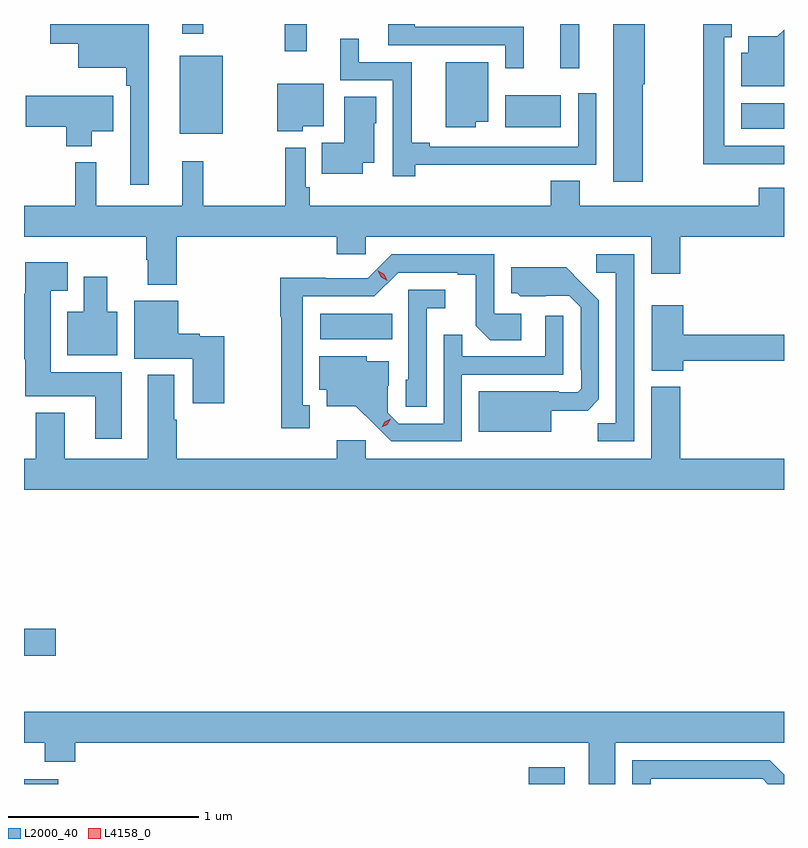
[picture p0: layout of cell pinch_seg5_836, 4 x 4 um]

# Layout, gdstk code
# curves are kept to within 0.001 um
import gdstk
lib = gdstk.Library(unit=1e-6, precision=1e-09)
def R(c, l, rs):  # rectangles x0, y0, x1, y1
    for r in rs: c.add(gdstk.rectangle(r[:2], r[2:], *l))
def P(c, l, *ps):  # polygons
    for p in ps: c.add(gdstk.Polygon(p, *l))
L2000_40 = (2000, 40)
L4158_0 = (4158, 0)

pinch_seg5_836 = lib.new_cell('pinch_seg5_836')
R(pinch_seg5_836, L2000_40, [(800.708,891.176,800.887,891.202), (803.365,891.176,803.554,891.265), (800.708,891.85,800.875,891.992), (802.266,893.516,802.646,893.65), (801.527,894.599,801.754,895.009), (804.482,894.626,804.708,894.76), (803.24,894.632,803.533,894.802), (803.531,894.942,803.63,895.176), (802.081,895.032,802.195,895.176), (801.542,895.125,801.652,895.176)])
P(pinch_seg5_836, L2000_40, [(803.339,895.161),(802.765,895.161),(802.765,895.176),(802.625,895.176),(802.625,895.065),(803.241,895.065),(803.241,894.942),(803.339,894.942)],
  [(803.964,894.858),(803.974,894.858),(803.974,895.176),(803.81,895.176),(803.81,894.345),(803.964,894.345)],
  [(801.364,895.176),(800.847,895.176),(800.847,895.073),(800.993,895.073),(800.993,894.947),(801.247,894.947),(801.247,894.851),(801.267,894.851),(801.267,894.33),(801.364,894.33)],
  [(804.516,894.438),(804.708,894.438),(804.708,894.534),(804.394,894.534),(804.394,895.107),(804.433,895.107),(804.433,895.176),(804.283,895.176),(804.283,894.437),(804.516,894.437)],
  [(804.708,895.146),(804.673,895.111),(804.521,895.111),(804.521,895.024),(804.482,895.024),(804.482,894.848),(804.708,894.848)],
  [(802.766,894.434),(803.396,894.434),(803.396,894.435),(803.721,894.435),(803.721,894.811),(803.625,894.811),(803.625,894.531),(802.843,894.531),(802.843,894.551),(802.748,894.551),(802.748,894.975),(802.471,894.975),(802.471,895.099),(802.373,895.099),(802.373,894.879),(802.65,894.879),(802.65,894.375),(802.766,894.375)],
  [(803.086,894.662),(803.152,894.662),(803.152,894.976),(802.928,894.976),(802.928,894.632),(803.086,894.632)],
  [(802.176,894.638),(802.285,894.638),(802.285,894.862),(802.04,894.862),(802.04,894.611),(802.176,894.611)],
  [(801.064,894.611),(801.178,894.611),(801.178,894.799),(800.718,894.799),(800.718,894.634),(800.93,894.634),(800.93,894.533),(801.064,894.533)],
  [(802.492,894.446),(802.552,894.446),(802.552,894.654),(802.561,894.654),(802.561,894.794),(802.394,894.794),(802.394,894.55),(802.276,894.55),(802.276,894.389),(802.492,894.389)],
  [(801.512,894.056),(802.355,894.056),(802.355,893.963),(802.506,893.963),(802.506,894.056),(804.008,894.056),(804.008,893.862),(804.161,893.862),(804.161,894.056),(804.708,894.056),(804.708,894.313),(804.575,894.313),(804.575,894.22),(803.632,894.22),(803.632,894.35),(803.48,894.35),(803.48,894.22),(802.211,894.22),(802.211,894.316),(802.191,894.316),(802.191,894.526),(802.083,894.526),(802.083,894.22),(801.652,894.22),(801.652,894.454),(801.542,894.454),(801.542,894.22),(801.089,894.22),(801.089,894.448),(800.979,894.448),(800.979,894.22),(800.708,894.22),(800.708,894.056),(801.352,894.056),(801.352,893.936),(801.359,893.936),(801.359,893.804),(801.512,893.804)],
  [(802.213,893.169),(802.174,893.169),(802.174,893.742),(802.551,893.742),(802.677,893.868),(802.991,893.868),(802.991,893.856),(803.085,893.856),(803.085,893.588),(803.161,893.512),(803.326,893.512),(803.326,893.652),(803.184,893.652),(803.184,893.964),(802.644,893.964),(802.518,893.838),(802.296,893.838),(802.296,893.84),(802.056,893.84),(802.056,893.635),(802.063,893.635),(802.063,893.049),(802.213,893.049)],
  [(803.919,893.964),(803.721,893.964),(803.721,893.868),(803.823,893.868),(803.823,893.075),(803.728,893.075),(803.728,892.98),(803.919,892.98)],
  [(801.223,893.344),(800.848,893.344),(800.848,893.771),(800.938,893.771),(800.938,893.923),(800.714,893.923),(800.714,893.755),(800.708,893.755),(800.708,893.411),(800.714,893.411),(800.714,893.216),(801.083,893.216),(801.083,892.992),(801.223,892.992)],
  [(803.482,893.141),(803.674,893.141),(803.733,893.2),(803.733,893.722),(803.561,893.896),(803.273,893.896),(803.273,893.76),(803.304,893.76),(803.32,893.744),(803.577,893.745),(803.637,893.685),(803.637,893.356),(803.64,893.356),(803.64,893.256),(803.622,893.238),(803.522,893.238),(803.522,893.242),(803.102,893.242),(803.102,893.03),(803.482,893.03)],
  [(801.199,893.662),(801.145,893.662),(801.145,893.845),(801.023,893.845),(801.023,893.662),(800.936,893.662),(800.936,893.432),(801.199,893.432)],
  [(802.827,893.681),(802.924,893.681),(802.924,893.778),(802.731,893.778),(802.731,893.304),(802.716,893.304),(802.716,893.161),(802.827,893.161)],
  [(801.762,893.533),(801.633,893.533),(801.633,893.546),(801.52,893.546),(801.52,893.719),(801.287,893.719),(801.287,893.414),(801.596,893.414),(801.596,893.181),(801.762,893.181)],
  [(804.178,893.404),(804.708,893.404),(804.708,893.54),(804.178,893.54),(804.178,893.695),(804.011,893.695),(804.011,893.351),(804.178,893.351)],
  [(803.013,893.331),(803.547,893.331),(803.547,893.641),(803.451,893.641),(803.451,893.427),(803.015,893.427),(803.015,893.54),(802.917,893.54),(802.917,893.073),(802.68,893.073),(802.623,893.13),(802.623,893.272),(802.627,893.272),(802.627,893.401),(802.512,893.401),(802.512,893.428),(802.262,893.428),(802.262,893.252),(802.301,893.252),(802.301,893.165),(802.453,893.165),(802.64,892.98),(803.013,892.98)],
  [(804.708,892.888),(804.161,892.888),(804.161,893.266),(804.008,893.266),(804.008,892.888),(802.506,892.888),(802.506,892.984),(802.355,892.984),(802.355,892.888),(801.512,892.888),(801.512,893.093),(801.499,893.093),(801.499,893.329),(801.359,893.329),(801.359,892.888),(800.923,892.888),(800.923,893.131),(800.771,893.131),(800.771,892.888),(800.708,892.888),(800.708,892.724),(804.708,892.724)],
  [(803.821,891.392),(804.708,891.392),(804.708,891.556),(800.708,891.556),(800.708,891.392),(800.818,891.392),(800.818,891.293),(800.978,891.293),(800.978,891.392),(803.681,891.392),(803.681,891.176),(803.821,891.176)],
  [(804.007,891.204),(804.595,891.204),(804.623,891.176),(804.708,891.176),(804.708,891.226),(804.634,891.3),(803.91,891.3),(803.91,891.176),(804.007,891.176)])
P(pinch_seg5_836, L4158_0, [(802.59,893.053),(802.59,893.054),(802.607,893.083),(802.638,893.098),(802.638,893.098),(802.638,893.098),(802.621,893.068),(802.591,893.053)],
  [(802.62,893.825),(802.589,893.844),(802.571,893.877),(802.571,893.877),(802.572,893.877),(802.603,893.858),(802.62,893.825),(802.62,893.825)])

lib.write_gds('pinch_seg5_836.gds')
